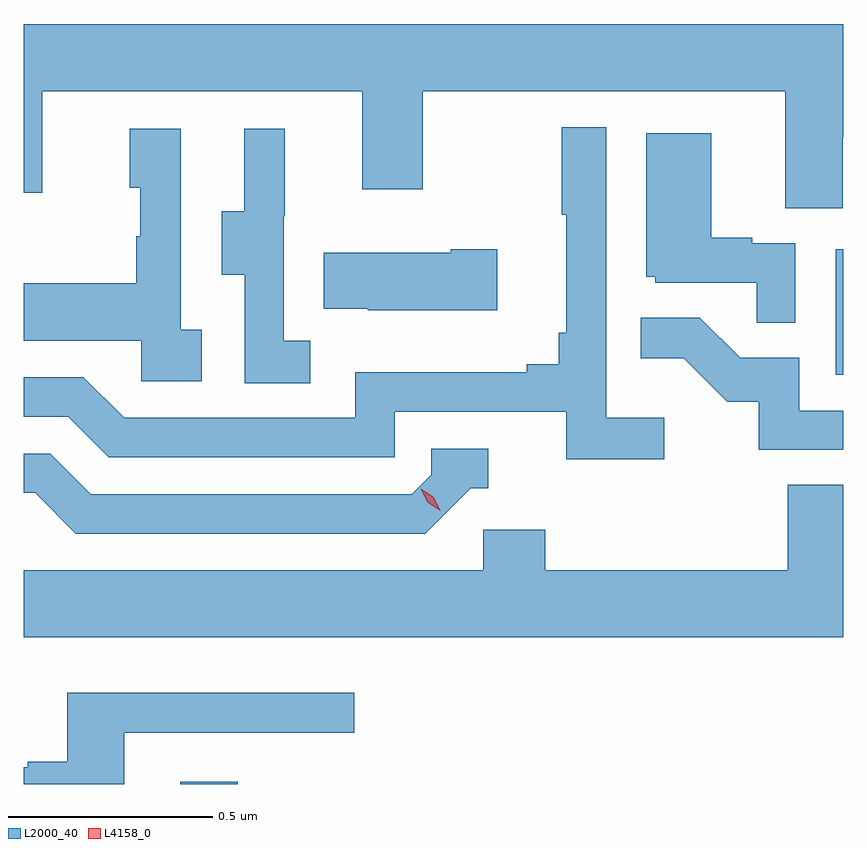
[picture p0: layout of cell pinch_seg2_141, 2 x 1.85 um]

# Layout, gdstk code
import gdstk
lib = gdstk.Library(unit=1e-6, precision=1e-09)
def R(c, l, rs):  # rectangles x0, y0, x1, y1
    for r in rs: c.add(gdstk.rectangle(r[:2], r[2:], *l))
def P(c, l, *ps):  # polygons
    for p in ps: c.add(gdstk.Polygon(p, *l))
L2000_40 = (2000, 40)
L4158_0 = (4158, 0)

pinch_seg2_141 = lib.new_cell('pinch_seg2_141')
R(pinch_seg2_141, L2000_40, [(1049.765,628.63,1049.905,628.636), (1051.364,629.628,1051.383,629.935)])
P(pinch_seg2_141, L2000_40, [(1051.381,630.208),(1051.383,630.208),(1051.383,630.484),(1049.383,630.484),(1049.383,630.072),(1049.429,630.072),(1049.429,630.32),(1050.209,630.32),(1050.209,630.081),(1050.357,630.081),(1050.357,630.32),(1051.241,630.32),(1051.241,630.034),(1051.381,630.034)],
  [(1050.946,629.524),(1050.804,629.524),(1050.804,630.232),(1050.696,630.232),(1050.696,630.019),(1050.707,630.019),(1050.707,629.731),(1050.688,629.731),(1050.688,629.654),(1050.611,629.654),(1050.611,629.635),(1050.192,629.635),(1050.192,629.523),(1049.628,629.523),(1049.529,629.622),(1049.383,629.622),(1049.383,629.526),(1049.492,629.526),(1049.591,629.427),(1050.288,629.427),(1050.288,629.538),(1050.707,629.538),(1050.707,629.422),(1050.946,629.422)],
  [(1050.082,629.711),(1050.018,629.711),(1050.018,630.015),(1050.02,630.015),(1050.02,630.229),(1049.921,630.229),(1049.921,630.027),(1049.867,630.027),(1049.867,629.872),(1049.922,629.872),(1049.922,629.608),(1050.082,629.608)],
  [(1049.818,629.738),(1049.766,629.738),(1049.766,630.229),(1049.642,630.229),(1049.642,630.084),(1049.668,630.084),(1049.668,629.966),(1049.658,629.966),(1049.658,629.851),(1049.383,629.851),(1049.383,629.711),(1049.67,629.711),(1049.67,629.613),(1049.818,629.613)],
  [(1051.266,629.949),(1051.16,629.949),(1051.16,629.962),(1051.06,629.962),(1051.06,630.217),(1050.902,630.217),(1050.902,629.868),(1050.924,629.868),(1050.924,629.853),(1051.171,629.853),(1051.171,629.755),(1051.266,629.755)],
  [(1050.538,629.934),(1050.425,629.934),(1050.425,629.926),(1050.115,629.926),(1050.115,629.789),(1050.223,629.789),(1050.223,629.786),(1050.538,629.786)],
  [(1051.383,629.541),(1051.275,629.541),(1051.275,629.67),(1051.131,629.67),(1051.033,629.768),(1050.889,629.768),(1050.889,629.669),(1050.993,629.669),(1051.1,629.562),(1051.177,629.562),(1051.177,629.445),(1051.383,629.445)],
  [(1050.474,629.352),(1050.517,629.352),(1050.517,629.448),(1050.378,629.448),(1050.378,629.385),(1050.33,629.337),(1049.547,629.337),(1049.448,629.436),(1049.383,629.436),(1049.383,629.34),(1049.411,629.34),(1049.51,629.241),(1050.363,629.241)],
  [(1051.383,629.36),(1051.247,629.36),(1051.247,629.152),(1050.656,629.152),(1050.656,629.25),(1050.504,629.25),(1050.504,629.152),(1049.383,629.152),(1049.383,628.988),(1051.383,628.988)],
  [(1049.629,628.755),(1050.19,628.755),(1050.19,628.852),(1049.489,628.852),(1049.489,628.684),(1049.393,628.684),(1049.393,628.671),(1049.383,628.671),(1049.383,628.63),(1049.629,628.63)])
P(pinch_seg2_141, L4158_0, [(1050.4,629.297),(1050.369,629.317),(1050.352,629.35),(1050.352,629.35),(1050.352,629.35),(1050.384,629.33),(1050.4,629.298),(1050.4,629.297)])

lib.write_gds('pinch_seg2_141.gds')
